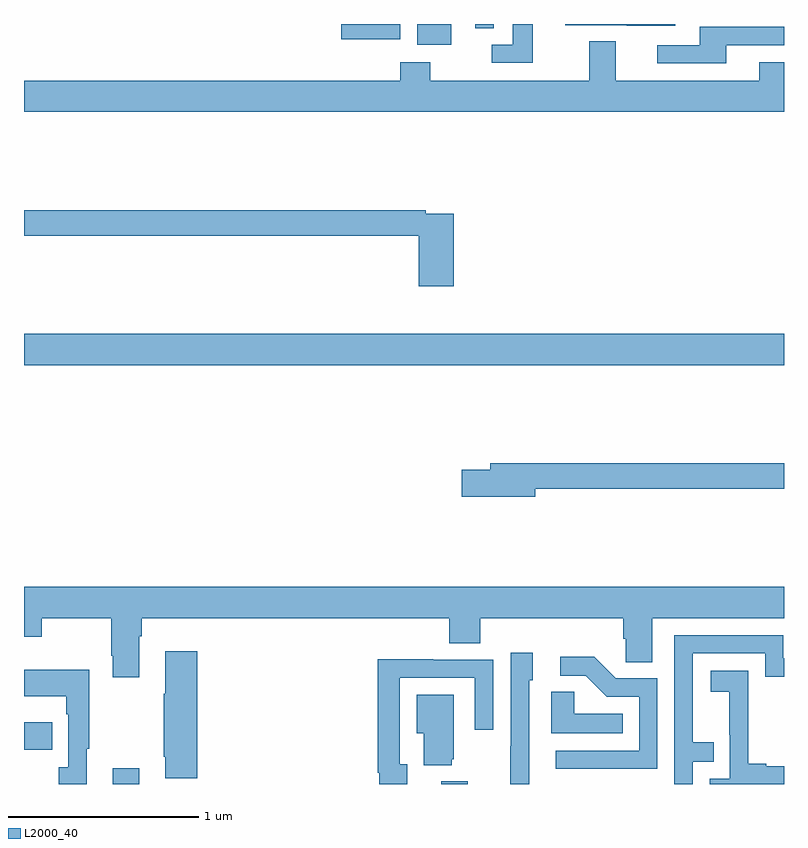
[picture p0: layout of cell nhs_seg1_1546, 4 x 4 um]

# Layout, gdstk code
import gdstk
lib = gdstk.Library(unit=1e-6, precision=1e-09)
def R(c, l, rs):  # rectangles x0, y0, x1, y1
    for r in rs: c.add(gdstk.rectangle(r[:2], r[2:], *l))
def P(c, l, *ps):  # polygons
    for p in ps: c.add(gdstk.Polygon(p, *l))
L2000_40 = (2000, 40)

nhs_seg1_1546 = lib.new_cell('nhs_seg1_1546')
R(nhs_seg1_1546, L2000_40, [(195.467,544.199,195.607,544.282), (197.195,544.199,197.335,544.213), (195,544.378,195.149,544.525), (195,546.404,199,546.568), (197.069,548.09,197.248,548.199), (196.671,548.119,196.98,548.199), (197.376,548.176,197.472,548.199)])
P(nhs_seg1_1546, L2000_40, [(197.677,548.199),(197.573,548.199),(197.573,548.091),(197.463,548.091),(197.463,547.995),(197.677,547.995)],
  [(198.427,548.199),(197.849,548.199),(197.849,548.193),(198.173,548.193),(198.173,548.189),(198.427,548.189)],
  [(198.697,548.088),(199,548.088),(199,548.184),(198.557,548.184),(198.557,548.088),(198.333,548.088),(198.333,547.992),(198.697,547.992)],
  [(199,547.999),(198.869,547.999),(198.869,547.9),(198.115,547.9),(198.115,548.108),(197.975,548.108),(197.975,547.9),(197.139,547.9),(197.139,547.999),(196.979,547.999),(196.979,547.9),(195,547.9),(195,547.736),(199,547.736)],
  [(197.261,547.2),(197.114,547.2),(197.114,547.22),(195,547.22),(195,547.084),(197.078,547.084),(197.078,546.819),(197.261,546.819)],
  [(197.692,545.752),(199,545.752),(199,545.888),(197.453,545.888),(197.453,545.852),(197.304,545.852),(197.304,545.71),(197.692,545.71)],
  [(195.607,544.976),(195.62,544.976),(195.62,545.072),(197.237,545.072),(197.237,544.939),(197.402,544.939),(197.402,545.072),(198.155,545.072),(198.155,544.963),(198.168,544.963),(198.168,544.84),(198.307,544.84),(198.307,545.072),(199,545.072),(199,545.236),(195,545.236),(195,544.973),(195.093,544.973),(195.093,545.072),(195.46,545.072),(195.46,544.873),(195.467,544.873),(195.467,544.761),(195.607,544.761)],
  [(198.519,544.317),(198.629,544.317),(198.629,544.418),(198.519,544.418),(198.519,544.887),(198.9,544.887),(198.9,544.764),(199,544.764),(199,544.86),(198.997,544.86),(198.997,544.983),(198.423,544.983),(198.423,544.199),(198.519,544.199)],
  [(195.911,544.897),(195.743,544.897),(195.743,544.673),(195.736,544.673),(195.736,544.342),(195.743,544.342),(195.743,544.23),(195.911,544.23)],
  [(197.658,544.746),(197.677,544.746),(197.677,544.891),(197.562,544.891),(197.562,544.397),(197.56,544.397),(197.56,544.199),(197.658,544.199)],
  [(198.333,544.755),(198.114,544.755),(198.001,544.868),(197.823,544.868),(197.823,544.77),(197.957,544.77),(198.068,544.659),(198.237,544.659),(198.237,544.374),(197.799,544.374),(197.799,544.278),(198.333,544.278)],
  [(197.017,544.302),(196.977,544.302),(196.977,544.758),(197.373,544.758),(197.373,544.485),(197.469,544.485),(197.469,544.854),(197.153,544.854),(197.153,544.856),(196.861,544.856),(196.861,544.258),(196.869,544.258),(196.869,544.199),(197.017,544.199)],
  [(195.331,544.385),(195.343,544.385),(195.343,544.801),(195,544.801),(195,544.661),(195.222,544.661),(195.222,544.565),(195.234,544.565),(195.234,544.286),(195.183,544.286),(195.183,544.199),(195.331,544.199)],
  [(199,544.293),(198.907,544.293),(198.907,544.306),(198.812,544.306),(198.812,544.589),(198.813,544.589),(198.813,544.795),(198.615,544.795),(198.615,544.685),(198.713,544.685),(198.713,544.457),(198.714,544.457),(198.714,544.227),(198.609,544.227),(198.609,544.199),(199,544.199)],
  [(198.152,544.57),(197.895,544.57),(197.895,544.685),(197.774,544.685),(197.774,544.466),(198.152,544.466)],
  [(197.252,544.329),(197.263,544.329),(197.263,544.669),(197.066,544.669),(197.066,544.466),(197.105,544.466),(197.105,544.298),(197.252,544.298)])

lib.write_gds('nhs_seg1_1546.gds')
